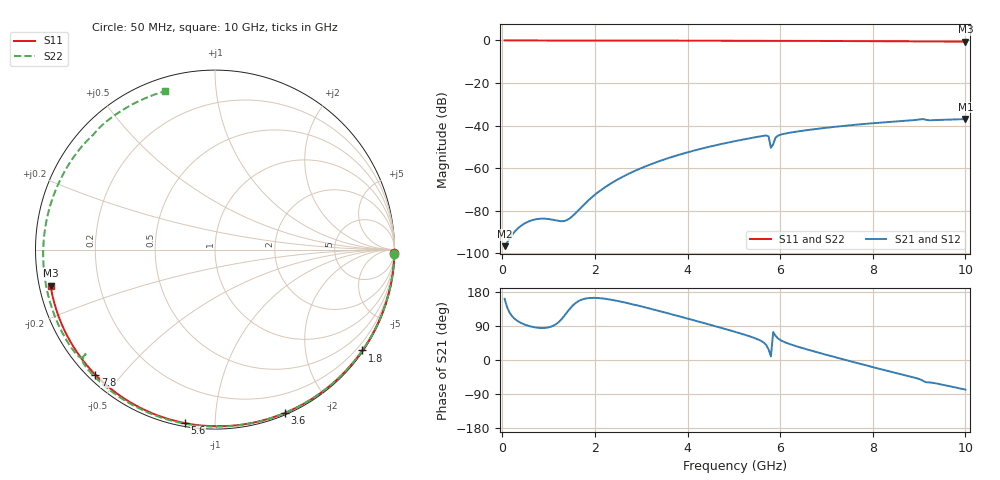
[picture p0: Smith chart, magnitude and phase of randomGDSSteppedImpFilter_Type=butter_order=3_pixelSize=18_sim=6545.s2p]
! freq	dB(S11)	phase(S11)	dB(S12)	phase(S12)
!  dB(S21)	phase(S21)	dB(S22)	phase(S22)
!S-par simulation data
#  GHz  S  DB  R 50
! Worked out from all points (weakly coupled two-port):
!   200 points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, 50 MHz to 10 GHz, reference 50 ohm
!   highest |S21| = -36.96 dB at 10 GHz (marker M1); lowest = -96.7 dB at 50 MHz (marker M2)
!   lowest |S11| = -0.6 dB at 10 GHz (marker M3), VSWR 31.29, Z = 1.62 - j5.42 ohm
!   |S11| at or under -10 dB: nowhere
!   |S22| runs from -0.7 to 0.0 dB; largest |S21 - S12| = 0
!   S11 on the Smith chart (normalised r, x): 50 MHz: open; 1.8 GHz: 0.03, -3.23; 3.6 GHz: 0.02, -1.52; 5.6 GHz: 0.02, -0.84; 7.8 GHz: 0.02, -0.43; 10 GHz: 0.03, -0.11
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0.05  -0.00 -1.0  -96.69 161.6  -96.69 161.6  -0.00 -1.3
0.8  -0.02 -15.5  -83.82 84.7  -83.82 84.7  -0.02 -21.2
1.6  -0.04 -30.6  -80.76 151.8  -80.76 151.8  -0.05 -41.9
1.75  -0.04 -33.4  -77.42 160.7  -77.42 160.7  -0.06 -45.7
1.8  -0.04 -34.4  -76.36 162.2  -76.36 162.2  -0.06 -47.0
2.1  -0.05 -39.9  -70.82 163.2  -70.82 163.2  -0.07 -54.5
2.45  -0.06 -46.3  -65.85 156.8  -65.85 156.8  -0.08 -63.2
3.4  -0.08 -63.3  -56.66 129.0  -56.66 129.0  -0.11 -86.0
3.6  -0.09 -66.8  -55.19 122.5  -55.19 122.5  -0.12 -90.7
4.3  -0.11 -78.7  -50.86 99.3  -50.86 99.3  -0.15 -106.8
5.05  -0.14 -91.1  -47.21 73.5  -47.21 73.5  -0.19 -123.8
5.6  -0.17 -99.9  -44.95 49.5  -44.95 49.5  -0.23 -136.5
5.75  -0.17 -102.3  -45.08 27.9  -45.08 27.9  -0.37 -140.8
5.8  -0.18 -103.1  -50.44 9.4  -50.44 9.4  -0.66 -141.1
5.85  -0.18 -103.8  -48.75 73.7  -48.75 73.7  -0.47 -140.1
5.9  -0.18 -104.6  -45.68 63.8  -45.68 63.8  -0.33 -141.6
5.95  -0.18 -105.4  -44.81 57.3  -44.81 57.3  -0.29 -143.0
6.7  -0.23 -117.1  -41.81 23.8  -41.81 23.8  -0.31 -160.8
7.8  -0.31 -133.8  -39.27 -12.4  -39.27 -12.4  -0.41 172.5
8.35  -0.36 -142.1  -38.31 -29.8  -38.31 -29.8  -0.47 158.1
9.2  -0.45 -155.1  -37.49 -59.0  -37.49 -59.0  -0.58 133.9
10  -0.56 -167.6  -36.96 -78.1  -36.96 -78.1  -0.67 107.5
